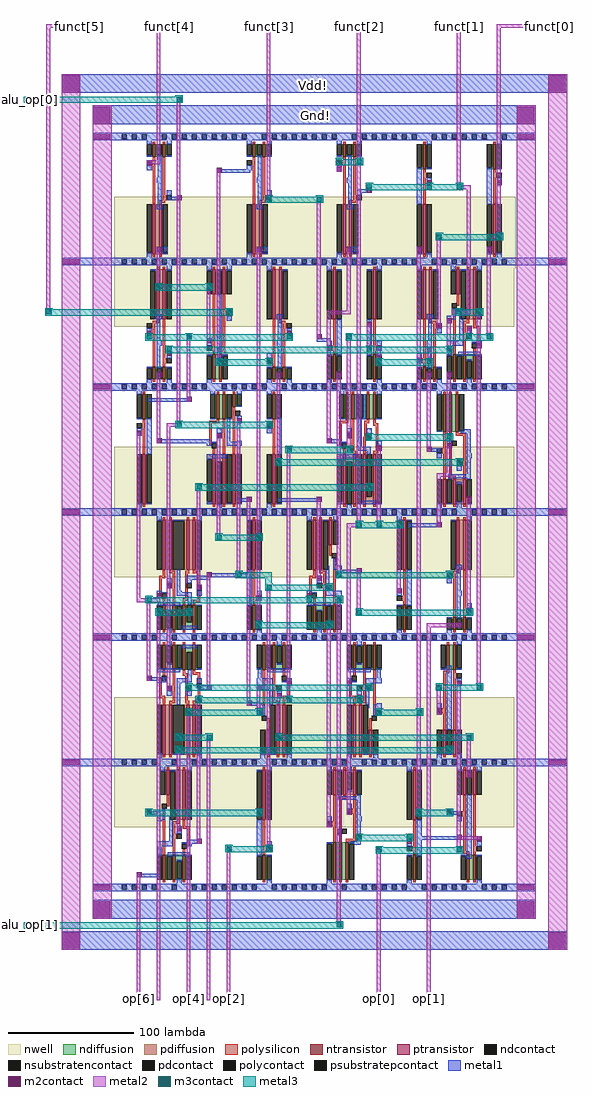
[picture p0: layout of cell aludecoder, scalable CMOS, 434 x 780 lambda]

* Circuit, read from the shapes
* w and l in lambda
.subckt aludecoder Gnd! Vdd! alu_op[0] alu_op[1] funct[0] funct[1] funct[2] funct[3] funct[4] funct[5] op[0] op[1] op[2] op[3] op[4] op[5] op[6]
M1 NOR2X1_3/B alu_op[1] Gnd! Gnd! nfet w=20 l=2
M2 AOI21X1_0/A NOR2X1_3/B Gnd! Gnd! nfet w=10 l=2
M3 NAND2X1_0/A funct[4] Gnd! Gnd! nfet w=10 l=2
M4 n1 OAI21X1_4/C op[6] Gnd! nfet w=20 l=2
M5 Gnd! alu_op[1] n2 Gnd! nfet w=20 l=2
M6 Gnd! alu_op[1] n3 Gnd! nfet w=20 l=2
M7 Gnd! NOR2X1_3/A AOI21X1_0/A Gnd! nfet w=10 l=2
M8 Gnd! alu_op[0] NAND2X1_0/A Gnd! nfet w=10 l=2
M9 Gnd! OAI21X1_4/B n1 Gnd! nfet w=20 l=2
M10 n2 alu_op[0] Gnd! Gnd! nfet w=20 l=2
M11 n3 alu_op[0] Gnd! Gnd! nfet w=20 l=2
M12 n1 OAI21X1_2/A Gnd! Gnd! nfet w=20 l=2
M13 op[3] OAI22X1_1/D n2 Gnd! nfet w=20 l=2
M14 op[5] OAI22X1_1/C n3 Gnd! nfet w=20 l=2
M15 n2 OAI22X1_1/C op[3] Gnd! nfet w=20 l=2
M16 n3 OAI22X1_0/C op[5] Gnd! nfet w=20 l=2
M17 n4 NAND2X1_0/A Gnd! Gnd! nfet w=20 l=2
M18 n5 AOI21X1_0/A Gnd! Gnd! nfet w=20 l=2
M19 NOR2X1_1/A funct[5] n4 Gnd! nfet w=20 l=2
M20 OAI21X1_2/C INVX2_6/A n5 Gnd! nfet w=20 l=2
M21 Gnd! op[2] OAI21X1_2/C Gnd! nfet w=10 l=2
M22 Gnd! INVX2_6/A OAI22X1_1/C Gnd! nfet w=20 l=2
M23 INVX2_6/A NOR2X1_1/A Gnd! Gnd! nfet w=10 l=2
M24 Gnd! op[2] OAI21X1_4/C Gnd! nfet w=20 l=2
M25 n6 OAI21X1_2/C op[4] Gnd! nfet w=20 l=2
M26 Gnd! funct[3] INVX2_6/A Gnd! nfet w=10 l=2
M27 Gnd! OAI21X1_2/B n6 Gnd! nfet w=20 l=2
M28 OAI21X1_1/B alu_op[0] Gnd! Gnd! nfet w=20 l=2
M29 NAND3X1_0/C NOR2X1_1/A Gnd! Gnd! nfet w=10 l=2
M30 n6 OAI21X1_2/A Gnd! Gnd! nfet w=20 l=2
M31 Gnd! NOR2X1_3/B NAND3X1_0/C Gnd! nfet w=10 l=2
M32 Gnd! alu_op[1] n7 Gnd! nfet w=20 l=2
M33 n7 OAI21X1_1/B Gnd! Gnd! nfet w=20 l=2
M34 n8 INVX2_6/A Gnd! Gnd! nfet w=30 l=2
M35 op[2] NOR2X1_6/A n7 Gnd! nfet w=20 l=2
M36 NOR2X1_6/B funct[3] Gnd! Gnd! nfet w=20 l=2
M37 n9 alu_op[1] n8 Gnd! nfet w=30 l=2
M38 AOI22X1_0/A funct[2] Gnd! Gnd! nfet w=10 l=2
M39 INVX2_9/A funct[2] n9 Gnd! nfet w=30 l=2
M40 n10 AOI22X1_0/A Gnd! Gnd! nfet w=20 l=2
M41 OAI22X1_0/C OAI21X1_2/A n10 Gnd! nfet w=20 l=2
M42 Gnd! funct[2] n11 Gnd! nfet w=20 l=2
M43 Gnd! funct[1] AOI22X1_0/A Gnd! nfet w=10 l=2
M44 n11 OAI21X1_2/A Gnd! Gnd! nfet w=20 l=2
M45 n12 AOI22X1_0/D OAI22X1_0/C Gnd! nfet w=20 l=2
M46 OAI22X1_1/D NOR2X1_5/A n11 Gnd! nfet w=20 l=2
M47 Gnd! funct[2] n12 Gnd! nfet w=20 l=2
M48 Gnd! INVX2_3/A NOR2X1_3/A Gnd! nfet w=20 l=2
M49 NAND3X1_0/B funct[2] Gnd! Gnd! nfet w=20 l=2
M50 op[0] INVX2_9/A Gnd! Gnd! nfet w=20 l=2
M51 INVX2_3/A NOR2X1_5/A Gnd! Gnd! nfet w=10 l=2
M52 Gnd! funct[1] NOR2X1_5/A Gnd! nfet w=20 l=2
M53 Gnd! funct[0] INVX2_3/A Gnd! nfet w=10 l=2
M54 n13 INVX2_3/A Gnd! Gnd! nfet w=30 l=2
M55 n14 funct[1] OAI21X1_4/B Gnd! nfet w=20 l=2
M56 n15 NAND3X1_0/B n13 Gnd! nfet w=30 l=2
M57 Gnd! op[0] n14 Gnd! nfet w=20 l=2
M58 op[1] NOR2X1_6/B Gnd! Gnd! nfet w=10 l=2
M59 n16 NOR2X1_3/A AOI22X1_0/D Gnd! nfet w=20 l=2
M60 NOR2X1_6/A NAND3X1_0/C n15 Gnd! nfet w=30 l=2
M61 Gnd! NOR2X1_6/A op[1] Gnd! nfet w=10 l=2
M62 Gnd! OAI21X1_2/A n16 Gnd! nfet w=20 l=2
M63 n17 NOR2X1_5/A OAI21X1_2/B Gnd! nfet w=20 l=2
M64 Gnd! op[0] n17 Gnd! nfet w=20 l=2
M65 n16 funct[1] Gnd! Gnd! nfet w=20 l=2
M66 Gnd! funct[0] OAI21X1_2/A Gnd! nfet w=20 l=2
M67 NOR2X1_3/B alu_op[1] Vdd! Vdd! pfet w=40 l=2
M68 n18 funct[4] Vdd! Vdd! pfet w=40 l=2
M69 n19 NOR2X1_3/B AOI21X1_0/A Vdd! pfet w=40 l=2
M70 NAND2X1_0/A alu_op[0] n18 Vdd! pfet w=40 l=2
M71 n20 alu_op[1] Vdd! Vdd! pfet w=40 l=2
M72 n21 alu_op[1] Vdd! Vdd! pfet w=40 l=2
M73 Vdd! NOR2X1_3/A n19 Vdd! pfet w=40 l=2
M74 op[6] OAI21X1_4/C Vdd! Vdd! pfet w=20 l=2
M75 op[3] alu_op[0] n20 Vdd! pfet w=40 l=2
M76 op[5] alu_op[0] n21 Vdd! pfet w=40 l=2
M77 n22 OAI21X1_4/B op[6] Vdd! pfet w=40 l=2
M78 Vdd! OAI21X1_2/A n22 Vdd! pfet w=40 l=2
M79 n23 OAI22X1_1/D op[3] Vdd! pfet w=40 l=2
M80 n24 OAI22X1_1/C op[5] Vdd! pfet w=40 l=2
M81 Vdd! OAI22X1_1/C n23 Vdd! pfet w=40 l=2
M82 Vdd! OAI22X1_0/C n24 Vdd! pfet w=40 l=2
M83 Vdd! AOI21X1_0/A n25 Vdd! pfet w=40 l=2
M84 NOR2X1_1/A NAND2X1_0/A Vdd! Vdd! pfet w=20 l=2
M85 n25 INVX2_6/A Vdd! Vdd! pfet w=40 l=2
M86 Vdd! funct[5] NOR2X1_1/A Vdd! pfet w=20 l=2
M87 OAI21X1_2/C op[2] n25 Vdd! pfet w=40 l=2
M88 Vdd! INVX2_6/A OAI22X1_1/C Vdd! pfet w=40 l=2
M89 n26 NOR2X1_1/A Vdd! Vdd! pfet w=40 l=2
M90 INVX2_6/A funct[3] n26 Vdd! pfet w=40 l=2
M91 Vdd! op[2] OAI21X1_4/C Vdd! pfet w=40 l=2
M92 op[4] OAI21X1_2/C Vdd! Vdd! pfet w=20 l=2
M93 OAI21X1_1/B alu_op[0] Vdd! Vdd! pfet w=40 l=2
M94 n27 NOR2X1_1/A Vdd! Vdd! pfet w=40 l=2
M95 n28 OAI21X1_2/B op[4] Vdd! pfet w=40 l=2
M96 NAND3X1_0/C NOR2X1_3/B n27 Vdd! pfet w=40 l=2
M97 Vdd! OAI21X1_2/A n28 Vdd! pfet w=40 l=2
M98 n29 alu_op[1] Vdd! Vdd! pfet w=40 l=2
M99 op[2] OAI21X1_1/B n29 Vdd! pfet w=40 l=2
M100 Vdd! NOR2X1_6/A op[2] Vdd! pfet w=20 l=2
M101 INVX2_9/A INVX2_6/A Vdd! Vdd! pfet w=20 l=2
M102 NOR2X1_6/B funct[3] Vdd! Vdd! pfet w=40 l=2
M103 Vdd! alu_op[1] INVX2_9/A Vdd! pfet w=20 l=2
M104 Vdd! AOI22X1_0/A n30 Vdd! pfet w=40 l=2
M105 n31 funct[2] Vdd! Vdd! pfet w=40 l=2
M106 AOI22X1_0/A funct[1] n31 Vdd! pfet w=40 l=2
M107 INVX2_9/A funct[2] Vdd! Vdd! pfet w=20 l=2
M108 n32 funct[2] Vdd! Vdd! pfet w=40 l=2
M109 n30 OAI21X1_2/A Vdd! Vdd! pfet w=40 l=2
M110 OAI22X1_1/D OAI21X1_2/A n32 Vdd! pfet w=40 l=2
M111 OAI22X1_0/C AOI22X1_0/D n30 Vdd! pfet w=40 l=2
M112 Vdd! NOR2X1_5/A OAI22X1_1/D Vdd! pfet w=20 l=2
M113 n30 funct[2] OAI22X1_0/C Vdd! pfet w=40 l=2
M114 Vdd! INVX2_3/A NOR2X1_3/A Vdd! pfet w=40 l=2
M115 NAND3X1_0/B funct[2] Vdd! Vdd! pfet w=40 l=2
M116 op[0] INVX2_9/A Vdd! Vdd! pfet w=40 l=2
M117 n33 NOR2X1_5/A Vdd! Vdd! pfet w=40 l=2
M118 Vdd! funct[1] NOR2X1_5/A Vdd! pfet w=40 l=2
M119 INVX2_3/A funct[0] n33 Vdd! pfet w=40 l=2
M120 OAI21X1_4/B funct[1] Vdd! Vdd! pfet w=20 l=2
M121 NOR2X1_6/A INVX2_3/A Vdd! Vdd! pfet w=20 l=2
M122 Vdd! op[0] OAI21X1_4/B Vdd! pfet w=20 l=2
M123 Vdd! NAND3X1_0/B NOR2X1_6/A Vdd! pfet w=20 l=2
M124 n34 NOR2X1_6/B op[1] Vdd! pfet w=40 l=2
M125 AOI22X1_0/D NOR2X1_3/A Vdd! Vdd! pfet w=20 l=2
M126 OAI21X1_2/B NOR2X1_5/A Vdd! Vdd! pfet w=20 l=2
M127 Vdd! NOR2X1_6/A n34 Vdd! pfet w=40 l=2
M128 NOR2X1_6/A NAND3X1_0/C Vdd! Vdd! pfet w=20 l=2
M129 n35 OAI21X1_2/A AOI22X1_0/D Vdd! pfet w=40 l=2
M130 Vdd! op[0] OAI21X1_2/B Vdd! pfet w=20 l=2
M131 Vdd! funct[1] n35 Vdd! pfet w=40 l=2
M132 Vdd! funct[0] OAI21X1_2/A Vdd! pfet w=40 l=2
.ends

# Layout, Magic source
magic
tech scmos
<< metal1 >>
rect 30 725 434 740
rect 55 700 409 715
rect 55 687 409 693
rect 154 661 181 664
rect 267 645 277 648
rect 115 639 125 642
rect 106 598 115 602
rect 186 598 195 602
rect 258 598 267 602
rect 30 587 434 593
rect 234 526 245 529
rect 322 518 326 527
rect 55 487 409 493
rect 99 478 133 481
rect 274 448 278 457
rect 106 445 149 448
rect 242 445 253 448
rect 322 438 333 441
rect 171 398 181 401
rect 203 398 237 401
rect 30 387 434 393
rect 307 378 333 381
rect 251 341 269 344
rect 146 339 181 341
rect 130 338 181 339
rect 130 336 149 338
rect 241 323 246 332
rect 55 287 409 293
rect 98 255 113 258
rect 139 248 149 251
rect 186 248 199 253
rect 273 248 278 257
rect 178 235 189 238
rect 279 228 286 236
rect 30 187 434 193
rect 98 148 113 151
rect 338 148 349 151
rect 106 144 113 148
rect 314 128 349 131
rect 131 125 141 128
rect 90 98 109 101
rect 55 87 409 93
rect 55 65 409 80
rect 30 40 434 55
<< metal2 >>
rect 18 777 45 780
rect 106 777 117 780
rect 18 548 21 777
rect 30 40 45 740
rect 55 65 70 715
rect 106 671 109 777
rect 98 668 109 671
rect 106 568 109 601
rect 90 321 93 454
rect 106 445 109 501
rect 122 461 125 721
rect 130 478 133 531
rect 146 525 149 571
rect 154 508 157 664
rect 194 639 197 780
rect 250 662 254 672
rect 114 458 125 461
rect 90 318 109 321
rect 98 255 101 318
rect 90 0 93 101
rect 106 0 109 311
rect 114 247 117 458
rect 138 328 141 411
rect 154 368 157 452
rect 146 248 149 341
rect 170 338 173 464
rect 122 135 125 201
rect 130 0 133 231
rect 138 125 141 241
rect 178 235 181 401
rect 186 298 189 601
rect 234 528 237 641
rect 258 551 261 601
rect 242 548 261 551
rect 202 428 205 501
rect 242 445 245 548
rect 186 228 189 251
rect 146 0 149 211
rect 162 0 165 122
rect 194 119 197 331
rect 202 208 205 244
rect 210 238 213 441
rect 234 335 237 401
rect 250 338 253 501
rect 258 438 261 531
rect 266 381 269 780
rect 346 651 349 780
rect 378 777 421 780
rect 346 648 357 651
rect 274 518 277 541
rect 282 508 285 522
rect 258 378 269 381
rect 282 378 285 442
rect 242 138 245 301
rect 250 58 253 321
rect 258 148 261 378
rect 266 308 269 344
rect 298 325 301 381
rect 314 148 317 601
rect 330 537 333 611
rect 354 551 357 648
rect 378 608 381 777
rect 346 548 357 551
rect 322 508 325 521
rect 338 518 341 544
rect 354 528 357 538
rect 322 438 325 501
rect 338 448 341 501
rect 338 421 341 444
rect 330 418 341 421
rect 330 378 333 418
rect 354 309 357 401
rect 322 298 349 301
rect 282 0 285 121
rect 322 0 325 298
rect 330 228 333 251
rect 346 131 349 254
rect 362 248 365 551
rect 370 528 373 601
rect 354 178 357 211
rect 346 128 365 131
rect 346 118 349 128
rect 394 65 409 715
rect 419 40 434 740
<< metal3 >>
rect 0 717 126 722
rect 249 667 270 672
rect 273 647 350 652
rect 193 637 238 642
rect 329 607 382 612
rect 105 567 150 572
rect 17 547 166 552
rect 345 547 366 552
rect 97 527 214 532
rect 257 527 374 532
rect 113 517 342 522
rect 153 507 198 512
rect 281 507 326 512
rect 121 457 198 462
rect 273 447 342 452
rect 209 437 262 442
rect 201 427 350 432
rect 137 407 278 412
rect 265 377 302 382
rect 153 367 190 372
rect 169 337 198 342
rect 249 337 342 342
rect 193 332 198 337
rect 193 327 246 332
rect 97 317 254 322
rect 105 307 134 312
rect 265 307 358 312
rect 185 297 246 302
rect 129 247 278 252
rect 329 247 366 252
rect 137 237 270 242
rect 129 227 190 232
rect 281 227 318 232
rect 121 207 150 212
rect 201 207 358 212
rect 121 197 342 202
rect 97 147 190 152
rect 313 147 342 152
rect 265 127 310 132
rect 161 118 198 123
rect 281 117 350 122
rect 0 57 254 62
use $$M2_M1_1500_1500_3_3  $$M2_M1_1500_1500_3_3_0
transform 1 0 37 0 1 732
box -7 -7 7 7
use $$M2_M1_1500_1500_3_3  $$M2_M1_1500_1500_3_3_1
transform 1 0 426 0 1 732
box -7 -7 7 7
use $$M3_M2  $$M3_M2_0
transform 1 0 124 0 1 720
box -3 -3 3 3
use $$M2_M1_1500_1500_3_3  $$M2_M1_1500_1500_3_3_2
transform 1 0 62 0 1 707
box -7 -7 7 7
use $$M2_M1_1500_1500_3_3  $$M2_M1_1500_1500_3_3_3
transform 1 0 401 0 1 707
box -7 -7 7 7
use $$M2_M1_1500_1500_3_1  $$M2_M1_1500_1500_3_1_0
transform 1 0 62 0 1 690
box -7 -2 7 2
use $$M2_M1  $$M2_M1_0
transform 1 0 100 0 1 669
box -2 -2 2 2
use $$M2_M1  $$M2_M1_3
transform 1 0 108 0 1 600
box -2 -2 2 2
use $$M2_M1  $$M2_M1_2
transform 1 0 124 0 1 641
box -2 -2 2 2
use $$M2_M1  $$M2_M1_1
transform 1 0 156 0 1 663
box -2 -2 2 2
use $$M2_M1  $$M2_M1_4
transform 1 0 196 0 1 641
box -2 -2 2 2
use $$M3_M2  $$M3_M2_1
transform 1 0 196 0 1 640
box -3 -3 3 3
use $$M2_M1  $$M2_M1_7
transform 1 0 188 0 1 600
box -2 -2 2 2
use $$M3_M2  $$M3_M2_5
transform 1 0 236 0 1 640
box -3 -3 3 3
use $$M3_M2  $$M3_M2_2
transform 1 0 252 0 1 670
box -3 -3 3 3
use $$M2_M1  $$M2_M1_5
transform 1 0 252 0 1 664
box -2 -2 2 2
use $$M3_M2  $$M3_M2_3
transform 1 0 268 0 1 670
box -3 -3 3 3
use $$M2_M1  $$M2_M1_8
transform 1 0 260 0 1 600
box -2 -2 2 2
use $$M3_M2  $$M3_M2_4
transform 1 0 276 0 1 650
box -3 -3 3 3
use $$M2_M1  $$M2_M1_6
transform 1 0 276 0 1 647
box -2 -2 2 2
use $$M2_M1  $$M2_M1_9
transform 1 0 324 0 1 653
box -2 -2 2 2
use $$M3_M2  $$M3_M2_6
transform 1 0 324 0 1 650
box -3 -3 3 3
use $$M2_M1  $$M2_M1_11
transform 1 0 316 0 1 600
box -2 -2 2 2
use $$M3_M2  $$M3_M2_8
transform 1 0 332 0 1 610
box -3 -3 3 3
use $$M3_M2  $$M3_M2_7
transform 1 0 348 0 1 650
box -3 -3 3 3
use $$M2_M1_1500_1500_3_1  $$M2_M1_1500_1500_3_1_1
transform 1 0 401 0 1 690
box -7 -2 7 2
use $$M2_M1  $$M2_M1_10
transform 1 0 380 0 1 653
box -2 -2 2 2
use $$M3_M2  $$M3_M2_9
transform 1 0 380 0 1 610
box -3 -3 3 3
use $$M2_M1  $$M2_M1_12
transform 1 0 372 0 1 600
box -2 -2 2 2
use $$M2_M1_1500_1500_3_1  $$M2_M1_1500_1500_3_1_2
transform 1 0 37 0 1 590
box -7 -2 7 2
use FILL  FILL_0
transform 1 0 80 0 -1 690
box -8 -3 16 105
use FILL  FILL_1
transform 1 0 88 0 -1 690
box -8 -3 16 105
use NOR2X1  NOR2X1_0
transform 1 0 96 0 -1 690
box -8 -3 32 105
use FILL  FILL_2
transform 1 0 120 0 -1 690
box -8 -3 16 105
use FILL  FILL_3
transform 1 0 128 0 -1 690
box -8 -3 16 105
use FILL  FILL_4
transform 1 0 136 0 -1 690
box -8 -3 16 105
use FILL  FILL_5
transform 1 0 144 0 -1 690
box -8 -3 16 105
use FILL  FILL_6
transform 1 0 152 0 -1 690
box -8 -3 16 105
use FILL  FILL_7
transform 1 0 160 0 -1 690
box -8 -3 16 105
use FILL  FILL_8
transform 1 0 168 0 -1 690
box -8 -3 16 105
use NOR2X1  NOR2X1_1
transform 1 0 176 0 -1 690
box -8 -3 32 105
use FILL  FILL_9
transform 1 0 200 0 -1 690
box -8 -3 16 105
use FILL  FILL_10
transform 1 0 208 0 -1 690
box -8 -3 16 105
use FILL  FILL_11
transform 1 0 216 0 -1 690
box -8 -3 16 105
use FILL  FILL_12
transform 1 0 224 0 -1 690
box -8 -3 16 105
use FILL  FILL_13
transform 1 0 232 0 -1 690
box -8 -3 16 105
use FILL  FILL_14
transform 1 0 240 0 -1 690
box -8 -3 16 105
use NOR2X1  NOR2X1_2
transform 1 0 248 0 -1 690
box -8 -3 32 105
use FILL  FILL_15
transform 1 0 272 0 -1 690
box -8 -3 16 105
use FILL  FILL_16
transform 1 0 280 0 -1 690
box -8 -3 16 105
use FILL  FILL_17
transform 1 0 288 0 -1 690
box -8 -3 16 105
use FILL  FILL_18
transform 1 0 296 0 -1 690
box -8 -3 16 105
use FILL  FILL_19
transform 1 0 304 0 -1 690
box -8 -3 16 105
use INVX2  INVX2_0
transform -1 0 328 0 -1 690
box -9 -3 26 105
use FILL  FILL_20
transform 1 0 328 0 -1 690
box -8 -3 16 105
use FILL  FILL_21
transform 1 0 336 0 -1 690
box -8 -3 16 105
use FILL  FILL_22
transform 1 0 344 0 -1 690
box -8 -3 16 105
use FILL  FILL_23
transform 1 0 352 0 -1 690
box -8 -3 16 105
use FILL  FILL_24
transform 1 0 360 0 -1 690
box -8 -3 16 105
use INVX2  INVX2_1
transform -1 0 384 0 -1 690
box -9 -3 26 105
use $$M2_M1_1500_1500_3_1  $$M2_M1_1500_1500_3_1_4
transform 1 0 426 0 1 590
box -7 -2 7 2
use $$M3_M2  $$M3_M2_11
transform 1 0 20 0 1 550
box -3 -3 3 3
use $$M3_M2  $$M3_M2_10
transform 1 0 108 0 1 570
box -3 -3 3 3
use $$M2_M1  $$M2_M1_13
transform 1 0 100 0 1 533
box -2 -2 2 2
use $$M3_M2  $$M3_M2_14
transform 1 0 100 0 1 530
box -3 -3 3 3
use $$M3_M2  $$M3_M2_16
transform 1 0 116 0 1 520
box -3 -3 3 3
use $$M2_M1  $$M2_M1_15
transform 1 0 116 0 1 517
box -2 -2 2 2
use $$M2_M1  $$M2_M1_16
transform 1 0 108 0 1 500
box -2 -2 2 2
use $$M3_M2  $$M3_M2_15
transform 1 0 132 0 1 530
box -3 -3 3 3
use $$M3_M2  $$M3_M2_12
transform 1 0 148 0 1 570
box -3 -3 3 3
use $$M2_M1  $$M2_M1_17
transform 1 0 148 0 1 527
box -2 -2 2 2
use $$M2_M1  $$M2_M1_14
transform 1 0 164 0 1 550
box -2 -2 2 2
use $$M3_M2  $$M3_M2_13
transform 1 0 164 0 1 550
box -3 -3 3 3
use $$M2_M1  $$M2_M1_18
transform 1 0 156 0 1 520
box -2 -2 2 2
use $$M3_M2  $$M3_M2_17
transform 1 0 156 0 1 510
box -3 -3 3 3
use $$M2_M1  $$M2_M1_20
transform 1 0 196 0 1 511
box -2 -2 2 2
use $$M3_M2  $$M3_M2_19
transform 1 0 196 0 1 510
box -3 -3 3 3
use $$M2_M1  $$M2_M1_19
transform 1 0 212 0 1 533
box -2 -2 2 2
use $$M3_M2  $$M3_M2_18
transform 1 0 212 0 1 530
box -3 -3 3 3
use $$M2_M1  $$M2_M1_21
transform 1 0 204 0 1 500
box -2 -2 2 2
use $$M2_M1  $$M2_M1_22
transform 1 0 236 0 1 530
box -2 -2 2 2
use $$M3_M2  $$M3_M2_20
transform 1 0 260 0 1 530
box -3 -3 3 3
use $$M2_M1  $$M2_M1_23
transform 1 0 252 0 1 500
box -2 -2 2 2
use $$M2_M1  $$M2_M1_24
transform 1 0 276 0 1 540
box -2 -2 2 2
use $$M3_M2  $$M3_M2_21
transform 1 0 276 0 1 520
box -3 -3 3 3
use $$M2_M1  $$M2_M1_25
transform 1 0 284 0 1 521
box -2 -2 2 2
use $$M3_M2  $$M3_M2_22
transform 1 0 284 0 1 510
box -3 -3 3 3
use $$M3_M2  $$M3_M2_23
transform 1 0 348 0 1 550
box -3 -3 3 3
use $$M3_M2  $$M3_M2_24
transform 1 0 364 0 1 550
box -3 -3 3 3
use $$M2_M1  $$M2_M1_26
transform 1 0 340 0 1 543
box -2 -2 2 2
use $$M2_M1  $$M2_M1_27
transform 1 0 332 0 1 539
box -2 -2 2 2
use $$M2_M1  $$M2_M1_28
transform 1 0 356 0 1 537
box -2 -2 2 2
use $$M3_M2  $$M3_M2_25
transform 1 0 356 0 1 530
box -3 -3 3 3
use $$M2_M1  $$M2_M1_30
transform 1 0 324 0 1 520
box -2 -2 2 2
use $$M3_M2  $$M3_M2_27
transform 1 0 340 0 1 520
box -3 -3 3 3
use $$M2_M1  $$M2_M1_31
transform 1 0 316 0 1 511
box -2 -2 2 2
use $$M3_M2  $$M3_M2_28
transform 1 0 324 0 1 510
box -3 -3 3 3
use $$M2_M1  $$M2_M1_32
transform 1 0 324 0 1 500
box -2 -2 2 2
use $$M2_M1  $$M2_M1_33
transform 1 0 340 0 1 500
box -2 -2 2 2
use $$M3_M2  $$M3_M2_26
transform 1 0 372 0 1 530
box -3 -3 3 3
use $$M2_M1  $$M2_M1_29
transform 1 0 364 0 1 523
box -2 -2 2 2
use $$M2_M1_1500_1500_3_1  $$M2_M1_1500_1500_3_1_3
transform 1 0 62 0 1 490
box -7 -2 7 2
use FILL  FILL_25
transform -1 0 88 0 1 490
box -8 -3 16 105
use FILL  FILL_26
transform -1 0 96 0 1 490
box -8 -3 16 105
use NOR2X1  NOR2X1_3
transform -1 0 120 0 1 490
box -8 -3 32 105
use FILL  FILL_27
transform -1 0 128 0 1 490
box -8 -3 16 105
use FILL  FILL_28
transform -1 0 136 0 1 490
box -8 -3 16 105
use FILL  FILL_29
transform -1 0 144 0 1 490
box -8 -3 16 105
use NAND2X1  NAND2X1_0
transform 1 0 144 0 1 490
box -8 -3 32 105
use FILL  FILL_30
transform -1 0 176 0 1 490
box -8 -3 16 105
use FILL  FILL_31
transform -1 0 184 0 1 490
box -8 -3 16 105
use FILL  FILL_32
transform -1 0 192 0 1 490
box -8 -3 16 105
use NOR2X1  NOR2X1_4
transform 1 0 192 0 1 490
box -8 -3 32 105
use FILL  FILL_33
transform -1 0 224 0 1 490
box -8 -3 16 105
use FILL  FILL_34
transform -1 0 232 0 1 490
box -8 -3 16 105
use FILL  FILL_35
transform -1 0 240 0 1 490
box -8 -3 16 105
use INVX2  INVX2_2
transform 1 0 240 0 1 490
box -9 -3 26 105
use FILL  FILL_36
transform -1 0 264 0 1 490
box -8 -3 16 105
use FILL  FILL_37
transform -1 0 272 0 1 490
box -8 -3 16 105
use INVX2  INVX2_3
transform -1 0 288 0 1 490
box -9 -3 26 105
use FILL  FILL_38
transform -1 0 296 0 1 490
box -8 -3 16 105
use FILL  FILL_39
transform -1 0 304 0 1 490
box -8 -3 16 105
use FILL  FILL_40
transform -1 0 312 0 1 490
box -8 -3 16 105
use NOR2X1  NOR2X1_5
transform 1 0 312 0 1 490
box -8 -3 32 105
use OAI21X1  OAI21X1_0
transform -1 0 368 0 1 490
box -8 -3 34 105
use FILL  FILL_59
transform -1 0 376 0 1 490
box -8 -3 16 105
use FILL  FILL_60
transform -1 0 384 0 1 490
box -8 -3 16 105
use $$M2_M1_1500_1500_3_1  $$M2_M1_1500_1500_3_1_5
transform 1 0 401 0 1 490
box -7 -2 7 2
use $$M2_M1  $$M2_M1_36
transform 1 0 92 0 1 453
box -2 -2 2 2
use $$M2_M1  $$M2_M1_37
transform 1 0 108 0 1 447
box -2 -2 2 2
use $$M2_M1  $$M2_M1_34
transform 1 0 132 0 1 480
box -2 -2 2 2
use $$M3_M2  $$M3_M2_29
transform 1 0 124 0 1 460
box -3 -3 3 3
use $$M3_M2  $$M3_M2_33
transform 1 0 140 0 1 410
box -3 -3 3 3
use $$M2_M1  $$M2_M1_35
transform 1 0 172 0 1 463
box -2 -2 2 2
use $$M2_M1  $$M2_M1_39
transform 1 0 156 0 1 451
box -2 -2 2 2
use $$M2_M1  $$M2_M1_40
transform 1 0 180 0 1 400
box -2 -2 2 2
use $$M2_M1  $$M2_M1_38
transform 1 0 196 0 1 459
box -2 -2 2 2
use $$M3_M2  $$M3_M2_30
transform 1 0 196 0 1 460
box -3 -3 3 3
use $$M3_M2  $$M3_M2_31
transform 1 0 212 0 1 440
box -3 -3 3 3
use $$M3_M2  $$M3_M2_32
transform 1 0 204 0 1 430
box -3 -3 3 3
use $$M2_M1  $$M2_M1_43
transform 1 0 244 0 1 447
box -2 -2 2 2
use $$M2_M1  $$M2_M1_46
transform 1 0 236 0 1 400
box -2 -2 2 2
use $$M2_M1  $$M2_M1_41
transform 1 0 260 0 1 452
box -2 -2 2 2
use $$M2_M1  $$M2_M1_42
transform 1 0 276 0 1 450
box -2 -2 2 2
use $$M3_M2  $$M3_M2_34
transform 1 0 276 0 1 450
box -3 -3 3 3
use $$M3_M2  $$M3_M2_35
transform 1 0 260 0 1 440
box -3 -3 3 3
use $$M2_M1  $$M2_M1_44
transform 1 0 284 0 1 441
box -2 -2 2 2
use $$M2_M1  $$M2_M1_45
transform 1 0 276 0 1 410
box -2 -2 2 2
use $$M3_M2  $$M3_M2_36
transform 1 0 276 0 1 410
box -3 -3 3 3
use $$M2_M1  $$M2_M1_48
transform 1 0 324 0 1 440
box -2 -2 2 2
use $$M3_M2  $$M3_M2_37
transform 1 0 340 0 1 450
box -3 -3 3 3
use $$M2_M1  $$M2_M1_47
transform 1 0 340 0 1 443
box -2 -2 2 2
use $$M2_M1  $$M2_M1_49
transform 1 0 348 0 1 430
box -2 -2 2 2
use $$M3_M2  $$M3_M2_38
transform 1 0 348 0 1 430
box -3 -3 3 3
use $$M2_M1  $$M2_M1_50
transform 1 0 356 0 1 400
box -2 -2 2 2
use $$M2_M1_1500_1500_3_1  $$M2_M1_1500_1500_3_1_6
transform 1 0 37 0 1 390
box -7 -2 7 2
use FILL  FILL_41
transform 1 0 80 0 -1 490
box -8 -3 16 105
use INVX2  INVX2_4
transform 1 0 88 0 -1 490
box -9 -3 26 105
use FILL  FILL_42
transform 1 0 104 0 -1 490
box -8 -3 16 105
use FILL  FILL_43
transform 1 0 112 0 -1 490
box -8 -3 16 105
use FILL  FILL_44
transform 1 0 120 0 -1 490
box -8 -3 16 105
use FILL  FILL_45
transform 1 0 128 0 -1 490
box -8 -3 16 105
use FILL  FILL_46
transform 1 0 136 0 -1 490
box -8 -3 16 105
use AOI21X1  AOI21X1_0
transform 1 0 144 0 -1 490
box -7 -3 39 105
use FILL  FILL_47
transform 1 0 176 0 -1 490
box -8 -3 16 105
use FILL  FILL_48
transform 1 0 184 0 -1 490
box -8 -3 16 105
use INVX2  INVX2_5
transform 1 0 192 0 -1 490
box -9 -3 26 105
use FILL  FILL_49
transform 1 0 208 0 -1 490
box -8 -3 16 105
use FILL  FILL_50
transform 1 0 216 0 -1 490
box -8 -3 16 105
use FILL  FILL_51
transform 1 0 224 0 -1 490
box -8 -3 16 105
use FILL  FILL_52
transform 1 0 232 0 -1 490
box -8 -3 16 105
use FILL  FILL_53
transform 1 0 240 0 -1 490
box -8 -3 16 105
use AOI22X1  AOI22X1_0
transform 1 0 248 0 -1 490
box -8 -3 46 105
use FILL  FILL_54
transform 1 0 288 0 -1 490
box -8 -3 16 105
use FILL  FILL_55
transform 1 0 296 0 -1 490
box -8 -3 16 105
use FILL  FILL_56
transform 1 0 304 0 -1 490
box -8 -3 16 105
use FILL  FILL_57
transform 1 0 312 0 -1 490
box -8 -3 16 105
use FILL  FILL_58
transform 1 0 320 0 -1 490
box -8 -3 16 105
use NAND3X1  NAND3X1_0
transform 1 0 328 0 -1 490
box -8 -3 40 105
use FILL  FILL_61
transform 1 0 360 0 -1 490
box -8 -3 16 105
use FILL  FILL_62
transform 1 0 368 0 -1 490
box -8 -3 16 105
use FILL  FILL_63
transform 1 0 376 0 -1 490
box -8 -3 16 105
use $$M2_M1_1500_1500_3_1  $$M2_M1_1500_1500_3_1_7
transform 1 0 426 0 1 390
box -7 -2 7 2
use $$M2_M1  $$M2_M1_52
transform 1 0 116 0 1 331
box -2 -2 2 2
use $$M2_M1  $$M2_M1_51
transform 1 0 148 0 1 340
box -2 -2 2 2
use $$M3_M2  $$M3_M2_41
transform 1 0 100 0 1 320
box -3 -3 3 3
use $$M2_M1  $$M2_M1_54
transform 1 0 108 0 1 323
box -2 -2 2 2
use $$M2_M1  $$M2_M1_53
transform 1 0 140 0 1 330
box -2 -2 2 2
use $$M3_M2  $$M3_M2_42
transform 1 0 108 0 1 310
box -3 -3 3 3
use $$M2_M1  $$M2_M1_55
transform 1 0 132 0 1 310
box -2 -2 2 2
use $$M3_M2  $$M3_M2_43
transform 1 0 132 0 1 310
box -3 -3 3 3
use $$M3_M2  $$M3_M2_39
transform 1 0 156 0 1 370
box -3 -3 3 3
use $$M3_M2  $$M3_M2_44
transform 1 0 172 0 1 340
box -3 -3 3 3
use $$M3_M2  $$M3_M2_40
transform 1 0 188 0 1 370
box -3 -3 3 3
use $$M3_M2  $$M3_M2_45
transform 1 0 196 0 1 330
box -3 -3 3 3
use $$M2_M1  $$M2_M1_56
transform 1 0 188 0 1 321
box -2 -2 2 2
use $$M3_M2  $$M3_M2_46
transform 1 0 188 0 1 300
box -3 -3 3 3
use $$M2_M1  $$M2_M1_58
transform 1 0 236 0 1 337
box -2 -2 2 2
use $$M3_M2  $$M3_M2_50
transform 1 0 252 0 1 340
box -3 -3 3 3
use $$M2_M1  $$M2_M1_59
transform 1 0 244 0 1 330
box -2 -2 2 2
use $$M3_M2  $$M3_M2_51
transform 1 0 244 0 1 330
box -3 -3 3 3
use $$M2_M1  $$M2_M1_60
transform 1 0 228 0 1 323
box -2 -2 2 2
use $$M3_M2  $$M3_M2_52
transform 1 0 228 0 1 320
box -3 -3 3 3
use $$M3_M2  $$M3_M2_53
transform 1 0 252 0 1 320
box -3 -3 3 3
use $$M3_M2  $$M3_M2_55
transform 1 0 244 0 1 300
box -3 -3 3 3
use $$M3_M2  $$M3_M2_47
transform 1 0 268 0 1 380
box -3 -3 3 3
use $$M2_M1  $$M2_M1_57
transform 1 0 268 0 1 343
box -2 -2 2 2
use $$M3_M2  $$M3_M2_54
transform 1 0 268 0 1 310
box -3 -3 3 3
use $$M3_M2  $$M3_M2_48
transform 1 0 284 0 1 380
box -3 -3 3 3
use $$M3_M2  $$M3_M2_49
transform 1 0 300 0 1 380
box -3 -3 3 3
use $$M2_M1  $$M2_M1_61
transform 1 0 300 0 1 327
box -2 -2 2 2
use $$M2_M1  $$M2_M1_62
transform 1 0 332 0 1 380
box -2 -2 2 2
use $$M2_M1  $$M2_M1_63
transform 1 0 340 0 1 339
box -2 -2 2 2
use $$M3_M2  $$M3_M2_56
transform 1 0 340 0 1 340
box -3 -3 3 3
use $$M2_M1  $$M2_M1_64
transform 1 0 356 0 1 311
box -2 -2 2 2
use $$M3_M2  $$M3_M2_57
transform 1 0 356 0 1 310
box -3 -3 3 3
use $$M2_M1  $$M2_M1_65
transform 1 0 348 0 1 300
box -2 -2 2 2
use $$M2_M1_1500_1500_3_1  $$M2_M1_1500_1500_3_1_8
transform 1 0 62 0 1 290
box -7 -2 7 2
use FILL  FILL_64
transform -1 0 88 0 1 290
box -8 -3 16 105
use FILL  FILL_65
transform -1 0 96 0 1 290
box -8 -3 16 105
use FILL  FILL_66
transform -1 0 104 0 1 290
box -8 -3 16 105
use OAI22X1  OAI22X1_0
transform 1 0 104 0 1 290
box -8 -3 46 105
use FILL  FILL_67
transform -1 0 152 0 1 290
box -8 -3 16 105
use FILL  FILL_68
transform -1 0 160 0 1 290
box -8 -3 16 105
use FILL  FILL_69
transform -1 0 168 0 1 290
box -8 -3 16 105
use FILL  FILL_70
transform -1 0 176 0 1 290
box -8 -3 16 105
use INVX2  INVX2_6
transform -1 0 192 0 1 290
box -9 -3 26 105
use FILL  FILL_71
transform -1 0 200 0 1 290
box -8 -3 16 105
use FILL  FILL_72
transform -1 0 208 0 1 290
box -8 -3 16 105
use FILL  FILL_73
transform -1 0 216 0 1 290
box -8 -3 16 105
use FILL  FILL_74
transform -1 0 224 0 1 290
box -8 -3 16 105
use OAI21X1  OAI21X1_1
transform 1 0 224 0 1 290
box -8 -3 34 105
use FILL  FILL_75
transform -1 0 264 0 1 290
box -8 -3 16 105
use FILL  FILL_76
transform -1 0 272 0 1 290
box -8 -3 16 105
use FILL  FILL_77
transform -1 0 280 0 1 290
box -8 -3 16 105
use FILL  FILL_78
transform -1 0 288 0 1 290
box -8 -3 16 105
use FILL  FILL_79
transform -1 0 296 0 1 290
box -8 -3 16 105
use INVX2  INVX2_7
transform 1 0 296 0 1 290
box -9 -3 26 105
use FILL  FILL_80
transform -1 0 320 0 1 290
box -8 -3 16 105
use FILL  FILL_81
transform -1 0 328 0 1 290
box -8 -3 16 105
use FILL  FILL_82
transform -1 0 336 0 1 290
box -8 -3 16 105
use NOR2X1  NOR2X1_6
transform -1 0 360 0 1 290
box -8 -3 32 105
use FILL  FILL_83
transform -1 0 368 0 1 290
box -8 -3 16 105
use FILL  FILL_84
transform -1 0 376 0 1 290
box -8 -3 16 105
use FILL  FILL_85
transform -1 0 384 0 1 290
box -8 -3 16 105
use $$M2_M1_1500_1500_3_1  $$M2_M1_1500_1500_3_1_9
transform 1 0 401 0 1 290
box -7 -2 7 2
use $$M2_M1  $$M2_M1_66
transform 1 0 100 0 1 257
box -2 -2 2 2
use $$M2_M1  $$M2_M1_68
transform 1 0 116 0 1 249
box -2 -2 2 2
use $$M2_M1  $$M2_M1_69
transform 1 0 132 0 1 249
box -2 -2 2 2
use $$M3_M2  $$M3_M2_58
transform 1 0 132 0 1 250
box -3 -3 3 3
use $$M2_M1  $$M2_M1_67
transform 1 0 148 0 1 250
box -2 -2 2 2
use $$M3_M2  $$M3_M2_59
transform 1 0 140 0 1 240
box -3 -3 3 3
use $$M3_M2  $$M3_M2_61
transform 1 0 132 0 1 230
box -3 -3 3 3
use $$M2_M1  $$M2_M1_74
transform 1 0 124 0 1 210
box -2 -2 2 2
use $$M3_M2  $$M3_M2_62
transform 1 0 124 0 1 210
box -3 -3 3 3
use $$M3_M2  $$M3_M2_64
transform 1 0 124 0 1 200
box -3 -3 3 3
use $$M3_M2  $$M3_M2_63
transform 1 0 148 0 1 210
box -3 -3 3 3
use $$M2_M1  $$M2_M1_73
transform 1 0 180 0 1 237
box -2 -2 2 2
use $$M2_M1  $$M2_M1_71
transform 1 0 188 0 1 250
box -2 -2 2 2
use $$M2_M1  $$M2_M1_70
transform 1 0 212 0 1 253
box -2 -2 2 2
use $$M2_M1  $$M2_M1_72
transform 1 0 204 0 1 243
box -2 -2 2 2
use $$M3_M2  $$M3_M2_65
transform 1 0 188 0 1 230
box -3 -3 3 3
use $$M3_M2  $$M3_M2_60
transform 1 0 212 0 1 240
box -3 -3 3 3
use $$M3_M2  $$M3_M2_66
transform 1 0 204 0 1 210
box -3 -3 3 3
use $$M2_M1  $$M2_M1_75
transform 1 0 260 0 1 253
box -2 -2 2 2
use $$M2_M1  $$M2_M1_76
transform 1 0 276 0 1 250
box -2 -2 2 2
use $$M3_M2  $$M3_M2_67
transform 1 0 276 0 1 250
box -3 -3 3 3
use $$M2_M1  $$M2_M1_77
transform 1 0 268 0 1 242
box -2 -2 2 2
use $$M3_M2  $$M3_M2_68
transform 1 0 268 0 1 240
box -3 -3 3 3
use $$M2_M1  $$M2_M1_79
transform 1 0 284 0 1 230
box -2 -2 2 2
use $$M3_M2  $$M3_M2_71
transform 1 0 284 0 1 230
box -3 -3 3 3
use $$M3_M2  $$M3_M2_72
transform 1 0 316 0 1 230
box -3 -3 3 3
use $$M3_M2  $$M3_M2_69
transform 1 0 332 0 1 250
box -3 -3 3 3
use $$M2_M1  $$M2_M1_80
transform 1 0 332 0 1 230
box -2 -2 2 2
use $$M2_M1  $$M2_M1_78
transform 1 0 348 0 1 253
box -2 -2 2 2
use $$M2_M1  $$M2_M1_81
transform 1 0 340 0 1 200
box -2 -2 2 2
use $$M3_M2  $$M3_M2_74
transform 1 0 340 0 1 200
box -3 -3 3 3
use $$M3_M2  $$M3_M2_70
transform 1 0 364 0 1 250
box -3 -3 3 3
use $$M3_M2  $$M3_M2_73
transform 1 0 356 0 1 210
box -3 -3 3 3
use $$M2_M1_1500_1500_3_1  $$M2_M1_1500_1500_3_1_10
transform 1 0 37 0 1 190
box -7 -2 7 2
use FILL  FILL_86
transform 1 0 80 0 -1 290
box -8 -3 16 105
use FILL  FILL_87
transform 1 0 88 0 -1 290
box -8 -3 16 105
use FILL  FILL_88
transform 1 0 96 0 -1 290
box -8 -3 16 105
use OAI22X1  OAI22X1_1
transform 1 0 104 0 -1 290
box -8 -3 46 105
use FILL  FILL_89
transform 1 0 144 0 -1 290
box -8 -3 16 105
use FILL  FILL_90
transform 1 0 152 0 -1 290
box -8 -3 16 105
use FILL  FILL_91
transform 1 0 160 0 -1 290
box -8 -3 16 105
use FILL  FILL_92
transform 1 0 168 0 -1 290
box -8 -3 16 105
use FILL  FILL_93
transform 1 0 176 0 -1 290
box -8 -3 16 105
use OAI21X1  OAI21X1_2
transform -1 0 216 0 -1 290
box -8 -3 34 105
use FILL  FILL_94
transform 1 0 216 0 -1 290
box -8 -3 16 105
use FILL  FILL_95
transform 1 0 224 0 -1 290
box -8 -3 16 105
use FILL  FILL_96
transform 1 0 232 0 -1 290
box -8 -3 16 105
use FILL  FILL_97
transform 1 0 240 0 -1 290
box -8 -3 16 105
use FILL  FILL_98
transform 1 0 248 0 -1 290
box -8 -3 16 105
use OAI21X1  OAI21X1_3
transform 1 0 256 0 -1 290
box -8 -3 34 105
use FILL  FILL_99
transform 1 0 288 0 -1 290
box -8 -3 16 105
use FILL  FILL_100
transform 1 0 296 0 -1 290
box -8 -3 16 105
use FILL  FILL_101
transform 1 0 304 0 -1 290
box -8 -3 16 105
use FILL  FILL_102
transform 1 0 312 0 -1 290
box -8 -3 16 105
use FILL  FILL_103
transform 1 0 320 0 -1 290
box -8 -3 16 105
use NAND2X1  NAND2X1_1
transform -1 0 352 0 -1 290
box -8 -3 32 105
use FILL  FILL_104
transform 1 0 352 0 -1 290
box -8 -3 16 105
use FILL  FILL_105
transform 1 0 360 0 -1 290
box -8 -3 16 105
use FILL  FILL_106
transform 1 0 368 0 -1 290
box -8 -3 16 105
use FILL  FILL_107
transform 1 0 376 0 -1 290
box -8 -3 16 105
use $$M2_M1_1500_1500_3_1  $$M2_M1_1500_1500_3_1_11
transform 1 0 426 0 1 190
box -7 -2 7 2
use $$M2_M1_1500_1500_3_1  $$M2_M1_1500_1500_3_1_12
transform 1 0 62 0 1 90
box -7 -2 7 2
use $$M2_M1  $$M2_M1_82
transform 1 0 100 0 1 150
box -2 -2 2 2
use $$M3_M2  $$M3_M2_75
transform 1 0 100 0 1 150
box -3 -3 3 3
use $$M2_M1  $$M2_M1_85
transform 1 0 92 0 1 100
box -2 -2 2 2
use FILL  FILL_108
transform -1 0 88 0 1 90
box -8 -3 16 105
use FILL  FILL_109
transform -1 0 96 0 1 90
box -8 -3 16 105
use FILL  FILL_110
transform -1 0 104 0 1 90
box -8 -3 16 105
use $$M2_M1  $$M2_M1_83
transform 1 0 124 0 1 137
box -2 -2 2 2
use $$M2_M1  $$M2_M1_84
transform 1 0 140 0 1 127
box -2 -2 2 2
use OAI21X1  OAI21X1_4
transform -1 0 136 0 1 90
box -8 -3 34 105
use FILL  FILL_111
transform -1 0 144 0 1 90
box -8 -3 16 105
use FILL  FILL_112
transform -1 0 152 0 1 90
box -8 -3 16 105
use $$M3_M2  $$M3_M2_77
transform 1 0 164 0 1 121
box -3 -3 3 3
use FILL  FILL_113
transform -1 0 160 0 1 90
box -8 -3 16 105
use FILL  FILL_114
transform -1 0 168 0 1 90
box -8 -3 16 105
use FILL  FILL_115
transform -1 0 176 0 1 90
box -8 -3 16 105
use $$M2_M1  $$M2_M1_86
transform 1 0 188 0 1 150
box -2 -2 2 2
use $$M3_M2  $$M3_M2_76
transform 1 0 188 0 1 150
box -3 -3 3 3
use FILL  FILL_116
transform -1 0 184 0 1 90
box -8 -3 16 105
use $$M2_M1  $$M2_M1_87
transform 1 0 196 0 1 121
box -2 -2 2 2
use $$M3_M2  $$M3_M2_78
transform 1 0 196 0 1 121
box -3 -3 3 3
use INVX2  INVX2_8
transform -1 0 200 0 1 90
box -9 -3 26 105
use FILL  FILL_117
transform -1 0 208 0 1 90
box -8 -3 16 105
use FILL  FILL_118
transform -1 0 216 0 1 90
box -8 -3 16 105
use FILL  FILL_119
transform -1 0 224 0 1 90
box -8 -3 16 105
use FILL  FILL_120
transform -1 0 232 0 1 90
box -8 -3 16 105
use $$M2_M1  $$M2_M1_88
transform 1 0 260 0 1 150
box -2 -2 2 2
use $$M2_M1  $$M2_M1_89
transform 1 0 244 0 1 140
box -2 -2 2 2
use FILL  FILL_121
transform -1 0 240 0 1 90
box -8 -3 16 105
use $$M2_M1  $$M2_M1_90
transform 1 0 252 0 1 134
box -2 -2 2 2
use $$M2_M1  $$M2_M1_91
transform 1 0 268 0 1 130
box -2 -2 2 2
use $$M3_M2  $$M3_M2_79
transform 1 0 268 0 1 130
box -3 -3 3 3
use NAND3X1  NAND3X1_1
transform 1 0 240 0 1 90
box -8 -3 40 105
use $$M3_M2  $$M3_M2_82
transform 1 0 284 0 1 120
box -3 -3 3 3
use FILL  FILL_122
transform -1 0 280 0 1 90
box -8 -3 16 105
use FILL  FILL_123
transform -1 0 288 0 1 90
box -8 -3 16 105
use FILL  FILL_124
transform -1 0 296 0 1 90
box -8 -3 16 105
use $$M3_M2  $$M3_M2_80
transform 1 0 316 0 1 150
box -3 -3 3 3
use $$M3_M2  $$M3_M2_81
transform 1 0 308 0 1 130
box -3 -3 3 3
use $$M2_M1  $$M2_M1_92
transform 1 0 308 0 1 127
box -2 -2 2 2
use FILL  FILL_125
transform -1 0 304 0 1 90
box -8 -3 16 105
use INVX2  INVX2_9
transform 1 0 304 0 1 90
box -9 -3 26 105
use FILL  FILL_126
transform -1 0 328 0 1 90
box -8 -3 16 105
use $$M2_M1  $$M2_M1_94
transform 1 0 340 0 1 150
box -2 -2 2 2
use $$M3_M2  $$M3_M2_83
transform 1 0 340 0 1 150
box -3 -3 3 3
use FILL  FILL_127
transform -1 0 336 0 1 90
box -8 -3 16 105
use $$M2_M1  $$M2_M1_93
transform 1 0 356 0 1 180
box -2 -2 2 2
use $$M2_M1  $$M2_M1_95
transform 1 0 348 0 1 130
box -2 -2 2 2
use $$M3_M2  $$M3_M2_84
transform 1 0 348 0 1 120
box -3 -3 3 3
use FILL  FILL_128
transform -1 0 344 0 1 90
box -8 -3 16 105
use $$M2_M1  $$M2_M1_96
transform 1 0 364 0 1 129
box -2 -2 2 2
use NAND2X1  NAND2X1_2
transform -1 0 368 0 1 90
box -8 -3 32 105
use FILL  FILL_129
transform -1 0 376 0 1 90
box -8 -3 16 105
use FILL  FILL_130
transform -1 0 384 0 1 90
box -8 -3 16 105
use $$M2_M1_1500_1500_3_1  $$M2_M1_1500_1500_3_1_13
transform 1 0 401 0 1 90
box -7 -2 7 2
use $$M2_M1_1500_1500_3_3  $$M2_M1_1500_1500_3_3_4
transform 1 0 62 0 1 72
box -7 -7 7 7
use $$M2_M1_1500_1500_3_3  $$M2_M1_1500_1500_3_3_5
transform 1 0 401 0 1 72
box -7 -7 7 7
use $$M3_M2  $$M3_M2_85
transform 1 0 252 0 1 60
box -3 -3 3 3
use $$M2_M1_1500_1500_3_3  $$M2_M1_1500_1500_3_3_6
transform 1 0 37 0 1 47
box -7 -7 7 7
use $$M2_M1_1500_1500_3_3  $$M2_M1_1500_1500_3_3_7
transform 1 0 426 0 1 47
box -7 -7 7 7
<< labels >>
flabel metal3 2 720 2 720 4 FreeSans 26 0 0 0 alu_op[0]
flabel metal3 2 60 2 60 4 FreeSans 26 0 0 0 alu_op[1]
flabel metal2 196 778 196 778 4 FreeSans 26 0 0 0 funct[3]
flabel metal2 268 778 268 778 4 FreeSans 26 0 0 0 funct[2]
flabel metal2 348 778 348 778 4 FreeSans 26 0 0 0 funct[1]
flabel metal2 420 778 420 778 4 FreeSans 26 0 0 0 funct[0]
flabel metal2 116 778 116 778 4 FreeSans 26 0 0 0 funct[4]
flabel metal2 44 778 44 778 4 FreeSans 26 0 0 0 funct[5]
flabel metal2 284 1 284 1 4 FreeSans 26 0 0 0 op[0]
flabel metal2 164 1 164 1 4 FreeSans 26 0 0 0 op[2]
flabel metal2 324 1 324 1 4 FreeSans 26 0 0 0 op[1]
flabel metal2 148 1 148 1 4 FreeSans 26 0 0 0 op[3]
flabel metal2 132 1 132 1 4 FreeSans 26 0 0 0 op[4]
flabel metal2 108 1 108 1 4 FreeSans 26 0 0 0 op[5]
flabel metal2 92 1 92 1 4 FreeSans 26 0 0 0 op[6]
rlabel metal1 231 731 231 731 1 Vdd!
rlabel metal1 233 707 233 707 1 Gnd!
<< end >>

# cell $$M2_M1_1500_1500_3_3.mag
magic
tech scmos
<< m2contact >>
rect -7 -7 7 7
<< end >>

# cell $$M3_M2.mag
magic
tech scmos
<< m3contact >>
rect -2 -2 2 2
<< metal3 >>
rect -3 2 3 3
rect -3 -2 -2 2
rect 2 -2 3 2
rect -3 -3 3 -2
<< end >>

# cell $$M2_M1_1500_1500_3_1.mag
magic
tech scmos
<< m2contact >>
rect -7 -2 7 2
<< end >>

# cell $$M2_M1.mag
magic
tech scmos
<< m2contact >>
rect -2 -2 2 2
<< end >>

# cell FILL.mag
magic
tech scmos
<< nwell >>
rect -8 48 16 105
<< psubstratepcontact >>
rect -2 -2 2 2
rect 6 -2 10 2
<< nsubstratencontact >>
rect -2 98 2 102
rect 6 98 10 102
<< metal1 >>
rect -2 102 10 103
rect 2 98 6 102
rect -2 97 10 98
rect -2 2 10 3
rect 2 -2 6 2
rect -2 -3 10 -2
<< labels >>
flabel metal1 4 100 4 100 4 FreeSans 26 0 0 0 vdd
flabel metal1 4 0 4 0 4 FreeSans 26 0 0 0 gnd
<< end >>

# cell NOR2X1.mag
magic
tech scmos
<< nwell >>
rect -8 48 32 105
<< ntransistor >>
rect 7 6 9 16
rect 15 6 17 16
<< ptransistor >>
rect 7 54 9 94
rect 12 54 14 94
<< ndiffusion >>
rect 2 15 7 16
rect 6 6 7 15
rect 9 15 15 16
rect 9 6 10 15
rect 14 6 15 15
rect 17 15 22 16
rect 17 6 18 15
<< pdiffusion >>
rect 2 93 7 94
rect 6 54 7 93
rect 9 54 12 94
rect 14 93 19 94
rect 14 54 15 93
<< ndcontact >>
rect 2 6 6 15
rect 10 6 14 15
rect 18 6 22 15
<< pdcontact >>
rect 2 54 6 93
rect 15 54 19 93
<< psubstratepcontact >>
rect -2 -2 2 2
rect 14 -2 18 2
<< nsubstratencontact >>
rect -2 98 2 102
rect 14 98 18 102
<< polysilicon >>
rect 7 94 9 96
rect 12 94 14 96
rect 7 23 9 54
rect 12 53 14 54
rect 12 51 17 53
rect 6 19 9 23
rect 7 16 9 19
rect 15 47 18 51
rect 15 16 17 47
rect 7 4 9 6
rect 15 4 17 6
<< polycontact >>
rect 2 19 6 23
rect 18 47 22 51
<< metal1 >>
rect -2 102 26 103
rect 2 98 14 102
rect 18 98 26 102
rect -2 97 26 98
rect 2 93 6 97
rect 15 93 19 94
rect 10 54 15 58
rect 11 37 14 54
rect 18 43 22 47
rect 10 33 14 37
rect 2 23 6 27
rect 11 16 14 33
rect 2 15 6 16
rect 10 15 14 16
rect 18 15 22 16
rect 2 3 6 6
rect 18 3 22 6
rect -2 2 26 3
rect 2 -2 14 2
rect 18 -2 26 2
rect -2 -3 26 -2
<< labels >>
flabel metal1 4 100 4 100 4 FreeSans 26 0 0 0 vdd
flabel metal1 20 45 20 45 4 FreeSans 26 0 0 0 B
flabel metal1 4 0 4 0 4 FreeSans 26 0 0 0 gnd
flabel metal1 12 35 12 35 4 FreeSans 26 0 0 0 Y
flabel metal1 4 25 4 25 4 FreeSans 26 0 0 0 A
<< end >>

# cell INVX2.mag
magic
tech scmos
<< nwell >>
rect -9 48 26 105
<< ntransistor >>
rect 7 6 9 26
<< ptransistor >>
rect 7 54 9 94
<< ndiffusion >>
rect 2 25 7 26
rect 6 6 7 25
rect 9 25 14 26
rect 9 6 10 25
<< pdiffusion >>
rect 2 93 7 94
rect 6 54 7 93
rect 9 93 14 94
rect 9 54 10 93
<< ndcontact >>
rect 2 6 6 25
rect 10 6 14 25
<< pdcontact >>
rect 2 54 6 93
rect 10 54 14 93
<< psubstratepcontact >>
rect -2 -2 2 2
<< nsubstratencontact >>
rect -2 98 2 102
<< polysilicon >>
rect 7 94 9 96
rect 7 33 9 54
rect 6 29 9 33
rect 7 26 9 29
rect 7 4 9 6
<< polycontact >>
rect 2 29 6 33
<< metal1 >>
rect -2 102 18 103
rect 2 98 18 102
rect -2 97 18 98
rect 2 93 6 97
rect 10 93 14 94
rect 2 33 6 37
rect 2 25 6 26
rect 10 25 14 54
rect 2 3 6 6
rect -2 2 18 3
rect 2 -2 18 2
rect -2 -3 18 -2
<< labels >>
flabel metal1 4 100 4 100 4 FreeSans 26 0 0 0 vdd
flabel metal1 4 0 4 0 4 FreeSans 26 0 0 0 gnd
flabel metal1 12 45 12 45 4 FreeSans 26 0 0 0 Y
flabel metal1 4 35 4 35 4 FreeSans 26 0 0 0 A
<< end >>

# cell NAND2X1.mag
magic
tech scmos
<< nwell >>
rect -8 48 32 105
<< ntransistor >>
rect 7 6 9 26
rect 12 6 14 26
<< ptransistor >>
rect 7 74 9 94
rect 15 74 17 94
<< ndiffusion >>
rect 2 25 7 26
rect 6 6 7 25
rect 9 6 12 26
rect 14 25 19 26
rect 14 6 15 25
<< pdiffusion >>
rect 2 93 7 94
rect 6 74 7 93
rect 9 93 15 94
rect 9 74 10 93
rect 14 74 15 93
rect 17 93 22 94
rect 17 74 18 93
<< ndcontact >>
rect 2 6 6 25
rect 15 6 19 25
<< pdcontact >>
rect 2 74 6 93
rect 10 74 14 93
rect 18 74 22 93
<< psubstratepcontact >>
rect -2 -2 2 2
rect 14 -2 18 2
<< nsubstratencontact >>
rect -2 98 2 102
rect 14 98 18 102
<< polysilicon >>
rect 7 94 9 96
rect 15 94 17 96
rect 7 33 9 74
rect 6 29 9 33
rect 15 61 17 74
rect 15 57 18 61
rect 15 29 17 57
rect 7 26 9 29
rect 12 27 17 29
rect 12 26 14 27
rect 7 4 9 6
rect 12 4 14 6
<< polycontact >>
rect 2 29 6 33
rect 18 57 22 61
<< metal1 >>
rect -2 102 26 103
rect 2 98 14 102
rect 18 98 26 102
rect -2 97 26 98
rect 2 93 6 97
rect 10 93 14 94
rect 18 93 22 97
rect 2 33 6 37
rect 10 26 14 74
rect 18 53 22 57
rect 2 25 6 26
rect 10 25 19 26
rect 10 23 15 25
rect 2 3 6 6
rect -2 2 26 3
rect 2 -2 14 2
rect 18 -2 26 2
rect -2 -3 26 -2
<< labels >>
flabel metal1 4 100 4 100 4 FreeSans 26 0 0 0 vdd
flabel metal1 12 45 12 45 4 FreeSans 26 0 0 0 Y
flabel metal1 4 0 4 0 4 FreeSans 26 0 0 0 gnd
flabel metal1 4 35 4 35 4 FreeSans 26 0 0 0 A
flabel metal1 20 55 20 55 4 FreeSans 26 0 0 0 B
<< end >>

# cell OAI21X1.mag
magic
tech scmos
<< nwell >>
rect -8 48 34 105
<< ntransistor >>
rect 7 6 9 26
rect 15 6 17 26
rect 23 6 25 26
<< ptransistor >>
rect 7 54 9 94
rect 12 54 14 94
rect 20 74 22 94
<< ndiffusion >>
rect 2 25 7 26
rect 6 6 7 25
rect 9 21 15 26
rect 9 7 10 21
rect 14 7 15 21
rect 9 6 15 7
rect 17 25 23 26
rect 17 6 18 25
rect 22 6 23 25
rect 25 25 30 26
rect 25 6 26 25
<< pdiffusion >>
rect 2 93 7 94
rect 6 54 7 93
rect 9 54 12 94
rect 14 93 20 94
rect 14 54 15 93
rect 19 74 20 93
rect 22 93 27 94
rect 22 74 23 93
<< ndcontact >>
rect 2 6 6 25
rect 10 7 14 21
rect 18 6 22 25
rect 26 6 30 25
<< pdcontact >>
rect 2 54 6 93
rect 15 54 19 93
rect 23 74 27 93
<< psubstratepcontact >>
rect -2 -2 2 2
rect 14 -2 18 2
<< nsubstratencontact >>
rect -2 98 2 102
rect 14 98 18 102
<< polysilicon >>
rect 7 94 9 96
rect 12 94 14 96
rect 20 94 22 96
rect 20 65 22 74
rect 7 49 9 54
rect 12 53 14 54
rect 12 51 17 53
rect 4 47 9 49
rect 4 33 6 47
rect 15 43 17 51
rect 14 39 17 43
rect 7 26 9 31
rect 15 26 17 39
rect 23 26 25 63
rect 7 4 9 6
rect 15 4 17 6
rect 23 4 25 6
<< polycontact >>
rect 22 63 26 67
rect 10 39 14 43
rect 6 31 10 35
<< metal1 >>
rect -2 102 34 103
rect 2 98 14 102
rect 18 98 34 102
rect -2 97 34 98
rect 2 93 6 97
rect 15 93 19 94
rect 23 93 27 97
rect 23 57 26 63
rect 19 54 20 57
rect 23 54 30 57
rect 10 43 14 47
rect 17 37 20 54
rect 26 53 30 54
rect 2 36 6 37
rect 2 35 10 36
rect 2 33 6 35
rect 17 33 30 37
rect 3 26 21 28
rect 26 26 29 33
rect 2 25 22 26
rect 10 21 14 22
rect 10 3 14 7
rect 26 25 30 26
rect -2 2 34 3
rect 2 -2 14 2
rect 18 -2 34 2
rect -2 -3 34 -2
<< labels >>
flabel metal1 4 0 4 0 4 FreeSans 26 0 0 0 gnd
flabel metal1 4 100 4 100 4 FreeSans 26 0 0 0 vdd
flabel metal1 4 35 4 35 4 FreeSans 26 0 0 0 A
flabel metal1 12 45 12 45 4 FreeSans 26 0 0 0 B
flabel metal1 28 35 28 35 4 FreeSans 26 0 0 0 Y
flabel metal1 28 55 28 55 4 FreeSans 26 0 0 0 C
<< end >>

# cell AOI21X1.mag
magic
tech scmos
<< nwell >>
rect -7 48 39 105
<< ntransistor >>
rect 10 6 12 26
rect 15 6 17 26
rect 23 6 25 16
<< ptransistor >>
rect 7 54 9 94
rect 15 54 17 94
rect 23 54 25 94
<< ndiffusion >>
rect 5 25 10 26
rect 9 6 10 25
rect 12 6 15 26
rect 17 25 22 26
rect 17 6 18 25
rect 22 6 23 16
rect 25 15 30 16
rect 25 6 26 15
<< pdiffusion >>
rect 2 92 7 94
rect 6 58 7 92
rect 2 54 7 58
rect 9 60 10 94
rect 14 60 15 94
rect 9 54 15 60
rect 17 93 23 94
rect 17 54 18 93
rect 22 54 23 93
rect 25 93 30 94
rect 25 54 26 93
<< ndcontact >>
rect 5 6 9 25
rect 18 6 22 25
rect 26 6 30 15
<< pdcontact >>
rect 2 58 6 92
rect 10 60 14 94
rect 18 54 22 93
rect 26 54 30 93
<< psubstratepcontact >>
rect -2 -2 2 2
rect 14 -2 18 2
<< nsubstratencontact >>
rect -2 98 2 102
rect 14 98 18 102
<< polysilicon >>
rect 7 94 9 96
rect 15 94 17 96
rect 23 94 25 96
rect 7 49 9 54
rect 4 29 6 47
rect 15 41 17 54
rect 14 37 17 41
rect 4 27 12 29
rect 10 26 12 27
rect 15 26 17 37
rect 23 16 25 54
rect 10 4 12 6
rect 15 4 17 6
rect 23 4 25 6
<< polycontact >>
rect 6 45 10 49
rect 10 37 14 41
rect 25 19 29 23
<< metal1 >>
rect -2 102 34 103
rect 2 98 14 102
rect 18 98 34 102
rect -2 97 34 98
rect 10 94 14 97
rect 2 92 6 94
rect 18 93 22 94
rect 2 57 6 58
rect 2 54 18 57
rect 26 93 30 94
rect 2 45 6 47
rect 26 47 29 54
rect 2 44 10 45
rect 18 44 30 47
rect 2 43 6 44
rect 10 33 14 37
rect 18 26 21 44
rect 26 43 30 44
rect 5 25 9 26
rect 18 25 22 26
rect 26 23 30 27
rect 26 15 30 16
rect 5 3 9 6
rect 26 3 30 6
rect -2 2 34 3
rect 2 -2 14 2
rect 18 -2 34 2
rect -2 -3 34 -2
<< labels >>
flabel metal1 4 0 4 0 4 FreeSans 26 0 0 0 gnd
flabel metal1 4 100 4 100 4 FreeSans 26 0 0 0 vdd
flabel metal1 4 45 4 45 4 FreeSans 26 0 0 0 A
flabel metal1 12 35 12 35 4 FreeSans 26 0 0 0 B
flabel metal1 28 45 28 45 4 FreeSans 26 0 0 0 Y
flabel metal1 28 25 28 25 4 FreeSans 26 0 0 0 C
<< end >>

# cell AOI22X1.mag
magic
tech scmos
<< nwell >>
rect -8 48 46 105
<< ntransistor >>
rect 9 6 11 26
rect 14 6 16 26
rect 26 6 28 26
rect 31 6 33 26
<< ptransistor >>
rect 7 54 9 94
rect 15 54 17 94
rect 23 54 25 94
rect 31 54 33 94
<< ndiffusion >>
rect 4 25 9 26
rect 8 6 9 25
rect 11 6 14 26
rect 16 25 26 26
rect 16 6 19 25
rect 23 6 26 25
rect 28 6 31 26
rect 33 25 38 26
rect 33 6 34 25
<< pdiffusion >>
rect 2 92 7 94
rect 6 58 7 92
rect 2 54 7 58
rect 9 60 10 94
rect 14 60 15 94
rect 9 54 15 60
rect 17 93 23 94
rect 17 54 18 93
rect 22 54 23 93
rect 25 88 31 94
rect 25 54 26 88
rect 30 54 31 88
rect 33 93 38 94
rect 33 54 34 93
<< ndcontact >>
rect 4 6 8 25
rect 19 6 23 25
rect 34 6 38 25
<< pdcontact >>
rect 2 58 6 92
rect 10 60 14 94
rect 18 54 22 93
rect 26 54 30 88
rect 34 54 38 93
<< psubstratepcontact >>
rect -2 -2 2 2
rect 14 -2 18 2
rect 30 -2 34 2
<< nsubstratencontact >>
rect -2 98 2 102
rect 14 98 18 102
rect 30 98 34 102
<< polysilicon >>
rect 7 94 9 96
rect 15 94 17 96
rect 23 94 25 96
rect 31 94 33 96
rect 7 49 9 54
rect 15 53 17 54
rect 14 51 17 53
rect 4 29 6 47
rect 4 27 11 29
rect 9 26 11 27
rect 14 26 16 51
rect 23 40 25 54
rect 31 53 33 54
rect 31 51 35 53
rect 33 47 34 51
rect 24 39 25 40
rect 24 29 26 39
rect 33 31 35 47
rect 31 29 35 31
rect 24 27 28 29
rect 26 26 28 27
rect 31 26 33 29
rect 9 4 11 6
rect 14 4 16 6
rect 26 4 28 6
rect 31 4 33 6
<< polycontact >>
rect 6 45 10 49
rect 10 37 14 41
rect 34 47 38 51
rect 25 39 29 43
<< metal1 >>
rect -2 102 42 103
rect 2 98 14 102
rect 18 98 30 102
rect 34 98 42 102
rect -2 97 42 98
rect 10 94 14 97
rect 2 92 6 94
rect 18 93 38 94
rect 2 57 6 58
rect 2 54 18 57
rect 22 91 34 93
rect 26 51 29 54
rect 2 45 6 47
rect 19 48 29 51
rect 19 47 22 48
rect 2 44 10 45
rect 2 43 6 44
rect 18 43 22 47
rect 34 43 38 47
rect 10 33 14 37
rect 19 26 22 43
rect 26 37 29 39
rect 26 33 30 37
rect 4 25 8 26
rect 17 25 25 26
rect 17 6 19 25
rect 23 6 25 25
rect 34 25 38 26
rect 4 3 8 6
rect 34 3 38 6
rect -2 2 42 3
rect 2 -2 14 2
rect 18 -2 30 2
rect 34 -2 42 2
rect -2 -3 42 -2
<< labels >>
flabel metal1 4 0 4 0 4 FreeSans 26 0 0 0 gnd
flabel metal1 4 100 4 100 4 FreeSans 26 0 0 0 vdd
flabel metal1 36 45 36 45 4 FreeSans 26 0 0 0 C
flabel metal1 28 35 28 35 4 FreeSans 26 0 0 0 D
flabel metal1 20 45 20 45 4 FreeSans 26 0 0 0 Y
flabel metal1 4 45 4 45 4 FreeSans 26 0 0 0 A
flabel metal1 12 35 12 35 4 FreeSans 26 0 0 0 B
<< end >>

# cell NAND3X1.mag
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
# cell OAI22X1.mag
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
